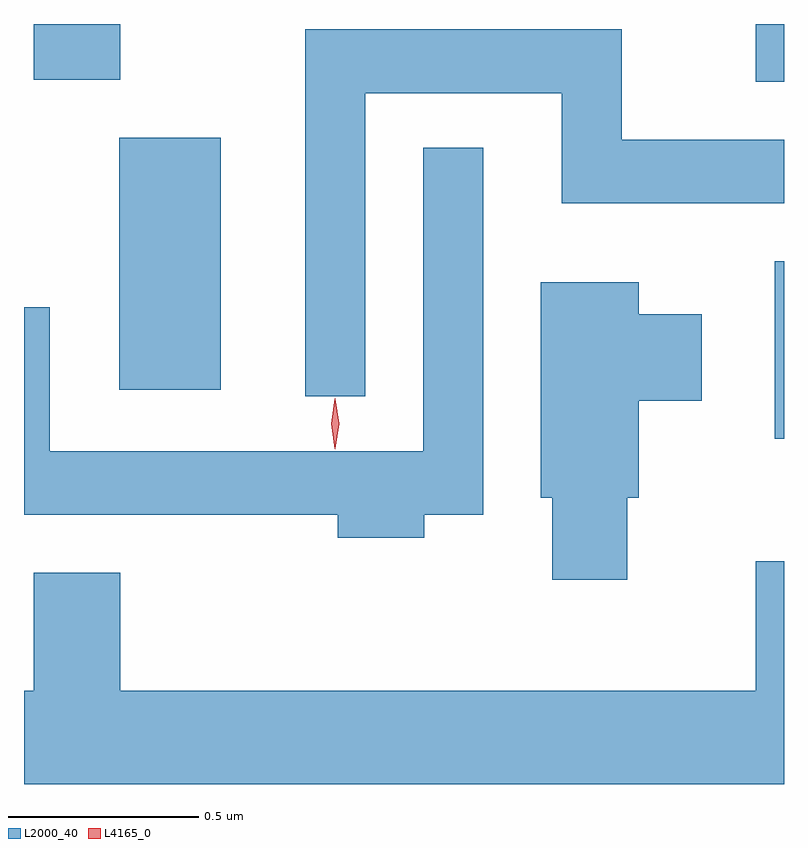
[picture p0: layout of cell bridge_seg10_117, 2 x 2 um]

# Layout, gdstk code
import gdstk
lib = gdstk.Library(unit=1e-6, precision=1e-09)
def R(c, l, rs):  # rectangles x0, y0, x1, y1
    for r in rs: c.add(gdstk.rectangle(r[:2], r[2:], *l))
def P(c, l, *ps):  # polygons
    for p in ps: c.add(gdstk.Polygon(p, *l))
L2000_40 = (2000, 40)
L4165_0 = (4165, 0)

bridge_seg10_117 = lib.new_cell('bridge_seg10_117')
R(bridge_seg10_117, L2000_40, [(1581.181,2183.666,1581.206,2184.134), (1579.456,2183.796,1579.724,2184.459), (1581.131,2184.606,1581.206,2184.758), (1579.231,2184.611,1579.459,2184.758)])
P(bridge_seg10_117, L2000_40, [(1580.104,2184.576),(1580.621,2184.576),(1580.621,2184.286),(1581.206,2184.286),(1581.206,2184.454),(1580.779,2184.454),(1580.779,2184.744),(1579.946,2184.744),(1579.946,2183.778),(1580.104,2183.778)],
  [(1580.259,2183.466),(1580.414,2183.466),(1580.414,2184.433),(1580.256,2184.433),(1580.256,2183.634),(1579.274,2183.634),(1579.274,2184.013),(1579.206,2184.013),(1579.206,2183.466),(1580.031,2183.466),(1580.031,2183.406),(1580.259,2183.406)],
  [(1580.794,2183.511),(1580.824,2183.511),(1580.824,2183.766),(1580.989,2183.766),(1580.989,2183.994),(1580.824,2183.994),(1580.824,2184.079),(1580.566,2184.079),(1580.566,2183.511),(1580.596,2183.511),(1580.596,2183.296),(1580.794,2183.296)],
  [(1581.206,2183.344),(1581.131,2183.344),(1581.131,2183.004),(1579.459,2183.004),(1579.459,2183.314),(1579.231,2183.314),(1579.231,2183.004),(1579.206,2183.004),(1579.206,2182.758),(1581.206,2182.758)])
P(bridge_seg10_117, L4165_0, [(1580.025,2183.639),(1580.024,2183.64),(1580.015,2183.706),(1580.024,2183.772),(1580.025,2183.773),(1580.025,2183.772),(1580.035,2183.706),(1580.025,2183.64)])

lib.write_gds('bridge_seg10_117.gds')
